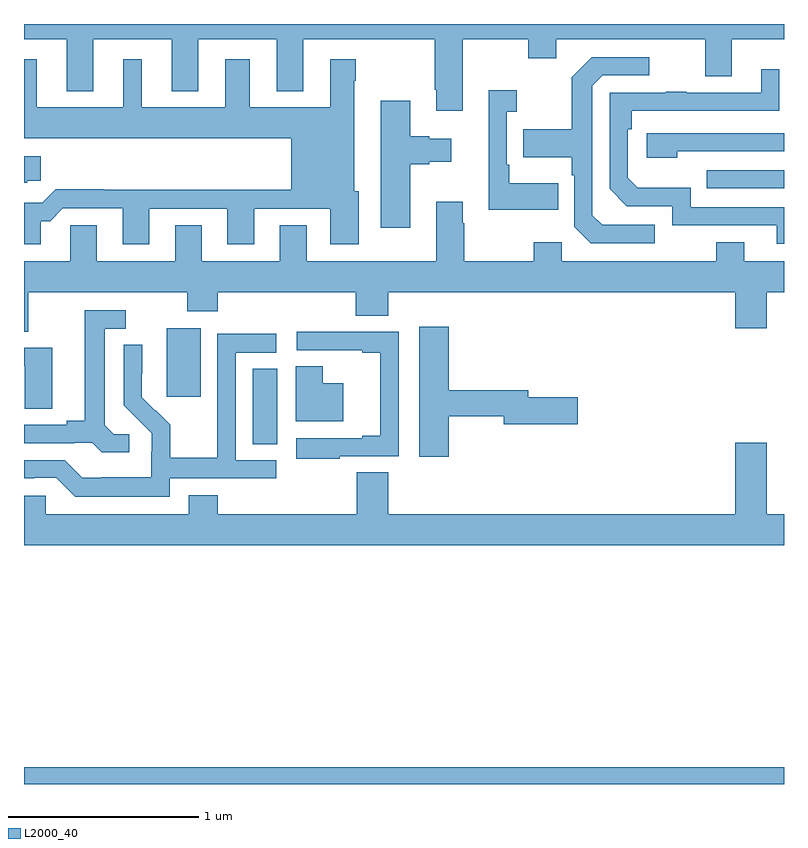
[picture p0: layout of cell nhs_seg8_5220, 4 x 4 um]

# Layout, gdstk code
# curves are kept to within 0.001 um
import gdstk
lib = gdstk.Library(unit=1e-6, precision=1e-09)
def R(c, l, rs):  # rectangles x0, y0, x1, y1
    for r in rs: c.add(gdstk.rectangle(r[:2], r[2:], *l))
def P(c, l, *ps):  # polygons
    for p in ps: c.add(gdstk.Polygon(p, *l))
L2000_40 = (2000, 40)

nhs_seg8_5220 = lib.new_cell('nhs_seg8_5220')
R(nhs_seg8_5220, L2000_40, [(425,1125.9,429,1125.988), (426.203,1127.689,426.334,1128.086), (425.75,1127.937,425.929,1128.298), (428.593,1129.035,429,1129.131)])
P(nhs_seg8_5220, L2000_40, [(427.309,1129.82),(427.654,1129.82),(427.654,1129.721),(427.801,1129.721),(427.801,1129.82),(428.585,1129.82),(428.585,1129.626),(428.725,1129.626),(428.725,1129.82),(429,1129.82),(429,1129.9),(425,1129.9),(425,1129.82),(425.225,1129.82),(425.225,1129.547),(425.365,1129.547),(425.365,1129.82),(425.777,1129.82),(425.777,1129.547),(425.917,1129.547),(425.917,1129.82),(426.329,1129.82),(426.329,1129.547),(426.469,1129.547),(426.469,1129.82),(427.162,1129.82),(427.162,1129.555),(427.169,1129.555),(427.169,1129.443),(427.309,1129.443)],
  [(428.32,1128.843),(428.043,1128.843),(427.992,1128.894),(427.992,1129.575),(428.046,1129.629),(428.29,1129.629),(428.29,1129.725),(427.989,1129.725),(427.884,1129.619),(427.884,1129.347),(427.627,1129.347),(427.627,1129.199),(427.884,1129.199),(427.884,1129.103),(427.896,1129.103),(427.896,1128.834),(427.983,1128.747),(428.32,1128.747)],
  [(425.089,1128.863),(425.138,1128.863),(425.205,1128.93),(425.519,1128.93),(425.519,1128.741),(425.659,1128.741),(425.659,1128.927),(426.071,1128.927),(426.071,1128.741),(426.211,1128.741),(426.211,1128.927),(426.611,1128.927),(426.611,1128.741),(426.763,1128.741),(426.763,1129.02),(426.739,1129.02),(426.739,1129.601),(426.747,1129.601),(426.747,1129.714),(426.611,1129.714),(426.611,1129.462),(426.187,1129.462),(426.187,1129.714),(426.059,1129.714),(426.059,1129.462),(425.62,1129.462),(425.62,1129.714),(425.522,1129.714),(425.522,1129.462),(425.068,1129.462),(425.068,1129.714),(425,1129.714),(425,1129.298),(426.407,1129.298),(426.407,1129.028),(425.423,1129.028),(425.423,1129.031),(425.168,1129.031),(425.097,1128.96),(425,1128.96),(425,1128.741),(425.089,1128.741)],
  [(429,1128.936),(428.508,1128.936),(428.508,1129.039),(428.231,1129.039),(428.178,1129.092),(428.178,1129.346),(428.198,1129.346),(428.198,1129.443),(428.975,1129.444),(428.975,1129.663),(428.879,1129.663),(428.879,1129.539),(428.489,1129.539),(428.489,1129.544),(428.377,1129.544),(428.377,1129.539),(428.082,1129.539),(428.082,1129.032),(428.172,1128.942),(428.412,1128.942),(428.412,1128.84),(428.963,1128.84),(428.963,1128.744),(429,1128.744)],
  [(427.811,1129.063),(427.555,1129.063),(427.555,1129.159),(427.542,1129.159),(427.542,1129.439),(427.594,1129.439),(427.594,1129.552),(427.445,1129.552),(427.445,1128.923),(427.811,1128.923)],
  [(427.033,1129.163),(427.133,1129.163),(427.133,1129.175),(427.249,1129.175),(427.249,1129.297),(427.133,1129.297),(427.133,1129.31),(427.033,1129.31),(427.033,1129.495),(426.878,1129.495),(426.878,1128.828),(427.033,1128.828)],
  [(428.438,1129.23),(429,1129.23),(429,1129.326),(428.277,1129.326),(428.277,1129.196),(428.438,1129.196)],
  [(425.016,1129.075),(425.089,1129.075),(425.089,1129.204),(425,1129.204),(425,1129.064),(425.016,1129.064)],
  [(425.023,1128.488),(425.86,1128.488),(425.86,1128.389),(426.02,1128.389),(426.02,1128.488),(426.746,1128.488),(426.746,1128.364),(426.917,1128.364),(426.917,1128.488),(428.744,1128.488),(428.744,1128.3),(428.908,1128.3),(428.908,1128.488),(429,1128.488),(429,1128.652),(428.791,1128.652),(428.791,1128.751),(428.644,1128.751),(428.644,1128.652),(427.83,1128.652),(427.83,1128.751),(427.684,1128.751),(427.684,1128.652),(427.317,1128.652),(427.317,1128.851),(427.309,1128.851),(427.309,1128.964),(427.169,1128.964),(427.169,1128.652),(426.487,1128.652),(426.487,1128.842),(426.347,1128.842),(426.347,1128.652),(425.935,1128.652),(425.935,1128.842),(425.795,1128.842),(425.795,1128.652),(425.383,1128.652),(425.383,1128.842),(425.244,1128.842),(425.244,1128.652),(425,1128.652),(425,1128.28),(425.023,1128.28)],
  [(425.554,1127.742),(425.472,1127.742),(425.425,1127.789),(425.425,1128.297),(425.536,1128.297),(425.536,1128.393),(425.321,1128.393),(425.321,1127.813),(425.225,1127.813),(425.225,1127.79),(425,1127.79),(425,1127.694),(425.264,1127.694),(425.264,1127.697),(425.358,1127.697),(425.41,1127.645),(425.554,1127.645)],
  [(427.235,1127.836),(427.526,1127.836),(427.526,1127.794),(427.915,1127.794),(427.915,1127.936),(427.654,1127.936),(427.654,1127.972),(427.235,1127.972),(427.235,1128.307),(427.079,1128.307),(427.079,1127.622),(427.235,1127.622)],
  [(426.662,1127.625),(426.972,1127.625),(426.972,1128.279),(426.662,1128.279),(426.662,1128.281),(426.435,1128.281),(426.435,1128.183),(426.779,1128.183),(426.779,1128.171),(426.875,1128.171),(426.875,1127.734),(426.779,1127.734),(426.779,1127.721),(426.432,1127.721),(426.432,1127.613),(426.662,1127.613)],
  [(425.766,1127.508),(426.328,1127.508),(426.328,1127.604),(426.114,1127.604),(426.114,1128.171),(426.328,1128.171),(426.328,1128.27),(426.018,1128.27),(426.018,1127.84),(426.016,1127.84),(426.016,1127.617),(425.771,1127.617),(425.771,1127.791),(425.694,1127.868),(425.691,1127.865),(425.621,1127.936),(425.622,1128.212),(425.526,1128.212),(425.526,1127.894),(425.672,1127.746),(425.672,1127.649),(425.67,1127.649),(425.67,1127.515),(425.407,1127.515),(425.407,1127.511),(425.307,1127.511),(425.214,1127.604),(425,1127.604),(425,1127.508),(425.054,1127.508),(425.054,1127.511),(425.169,1127.511),(425.269,1127.411),(425.766,1127.411)],
  [(425.149,1128.195),(425,1128.195),(425,1128.099),(425.004,1128.099),(425.004,1127.875),(425.149,1127.875)],
  [(426.679,1128.01),(426.573,1128.01),(426.573,1128.098),(426.431,1128.098),(426.431,1127.81),(426.679,1127.81)],
  [(429,1127.32),(428.908,1127.32),(428.908,1127.695),(428.744,1127.695),(428.744,1127.32),(426.917,1127.32),(426.917,1127.54),(426.751,1127.54),(426.751,1127.32),(426.02,1127.32),(426.02,1127.419),(425.867,1127.419),(425.867,1127.32),(425.115,1127.32),(425.115,1127.418),(425,1127.418),(425,1127.156),(429,1127.156)])

lib.write_gds('nhs_seg8_5220.gds')
